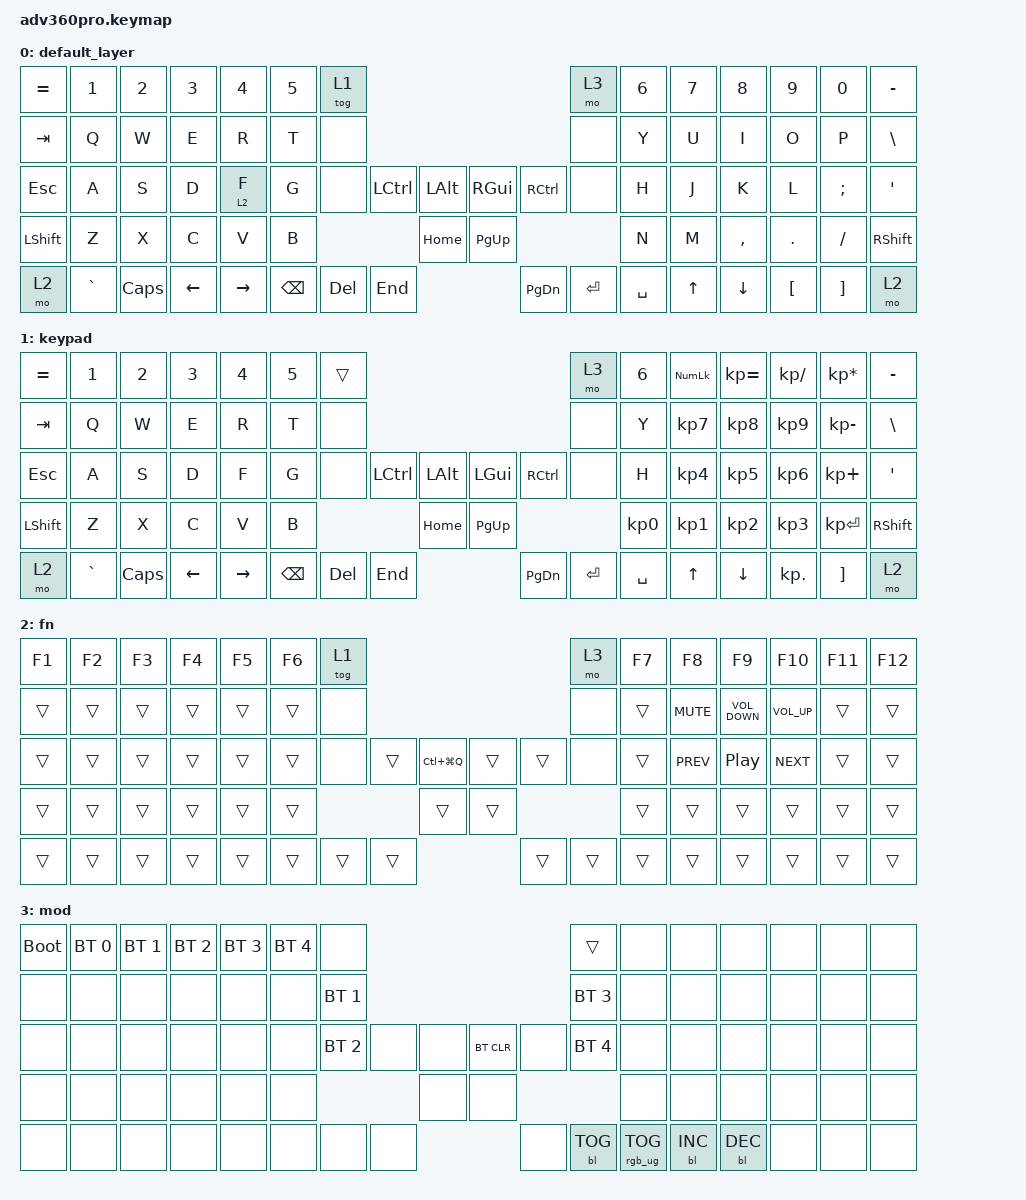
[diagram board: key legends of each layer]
#include <behaviors.dtsi>
#include <dt-bindings/zmk/backlight.h>
#include <dt-bindings/zmk/bt.h>
#include <dt-bindings/zmk/keys.h>
#include <dt-bindings/zmk/rgb.h>

/ {
    keymap {
        compatible = "zmk,keymap";

        default_layer {
            bindings = <
&kp EQUAL  &kp N1     &kp N2    &kp N3    &kp N4     &kp N5  &tog 1                                                                               &mo 3  &kp N6  &kp N7  &kp N8     &kp N9    &kp N0    &kp MINUS
&kp TAB    &kp Q      &kp W     &kp E     &kp R      &kp T   &none                                                                                &none  &kp Y   &kp U   &kp I      &kp O     &kp P     &kp BSLH
&kp ESC    &kp A      &kp S     &kp D     &lt 2 F    &kp G   &none             &kp LEFT_CONTROL  &kp LEFT_ALT    &kp RGUI   &kp RCTRL             &none  &kp H   &kp J   &kp K      &kp L     &kp SEMI  &kp SQT
&kp LSHFT  &kp Z      &kp X     &kp C     &kp V      &kp B                                       &kp HOME        &kp PG_UP                               &kp N   &kp M   &kp COMMA  &kp DOT   &kp FSLH  &kp RSHFT
&mo 2      &kp GRAVE  &kp CAPS  &kp LEFT  &kp RIGHT                  &kp BSPC  &kp DEL           &kp END         &kp PG_DN  &kp ENTER  &kp SPACE                 &kp UP  &kp DOWN   &kp LBKT  &kp RBKT  &mo 2
            >;
        };

        keypad {
            bindings = <
&kp EQUAL  &kp N1     &kp N2    &kp N3    &kp N4     &kp N5  &trans                                                                    &mo 3  &kp N6     &kp KP_NUM  &kp KP_EQUAL  &kp KP_DIVIDE  &kp KP_MULTIPLY  &kp MINUS
&kp TAB    &kp Q      &kp W     &kp E     &kp R      &kp T   &none                                                                     &none  &kp Y      &kp KP_N7   &kp KP_N8     &kp KP_N9      &kp KP_MINUS     &kp BSLH
&kp ESC    &kp A      &kp S     &kp D     &kp F      &kp G   &none             &kp LCTRL  &kp LALT    &kp LGUI   &kp RCTRL             &none  &kp H      &kp KP_N4   &kp KP_N5     &kp KP_N6      &kp KP_PLUS      &kp SQT
&kp LSHFT  &kp Z      &kp X     &kp C     &kp V      &kp B                                &kp HOME    &kp PG_UP                               &kp KP_N0  &kp KP_N1   &kp KP_N2     &kp KP_N3      &kp KP_ENTER     &kp RSHFT
&mo 2      &kp GRAVE  &kp CAPS  &kp LEFT  &kp RIGHT                  &kp BSPC  &kp DEL    &kp END     &kp PG_DN  &kp ENTER  &kp SPACE                    &kp UP      &kp DOWN      &kp KP_DOT     &kp RBKT         &mo 2
            >;
        };

        fn {
            bindings = <
&kp F1  &kp F2  &kp F3  &kp F4  &kp F5  &kp F6  &tog 1                                                           &mo 3  &kp F7  &kp F8      &kp F9             &kp F10          &kp F11  &kp F12
&trans  &trans  &trans  &trans  &trans  &trans  &none                                                            &none  &trans  &kp C_MUTE  &kp C_VOLUME_DOWN  &kp C_VOLUME_UP  &trans   &trans
&trans  &trans  &trans  &trans  &trans  &trans  &none           &trans  &kp LC(LG(Q))    &trans  &trans          &none  &trans  &kp C_PREV  &kp C_PLAY_PAUSE   &kp C_NEXT       &trans   &trans
&trans  &trans  &trans  &trans  &trans  &trans                          &trans           &trans                         &trans  &trans      &trans             &trans           &trans   &trans
&trans  &trans  &trans  &trans  &trans                  &trans  &trans  &trans           &trans  &trans  &trans                 &trans      &trans             &trans           &trans   &trans
            >;
        };

        mod {
            bindings = <
&bootloader  &bt BT_SEL 0  &bt BT_SEL 1  &bt BT_SEL 2  &bt BT_SEL 3  &bt BT_SEL 4  &none                                                                         &trans        &none  &none       &none       &none  &none  &none
&none        &none         &none         &none         &none         &none         &bt BT_SEL 1                                                                  &bt BT_SEL 3  &none  &none       &none       &none  &none  &none
&none        &none         &none         &none         &none         &none         &bt BT_SEL 2         &none  &none    &bt BT_CLR  &none                        &bt BT_SEL 4  &none  &none       &none       &none  &none  &none
&none        &none         &none         &none         &none         &none                                     &none    &none                                                  &none  &none       &none       &none  &none  &none
&none        &none         &none         &none         &none                                     &none  &none  &none    &none       &bl BL_TOG  &rgb_ug RGB_TOG                       &bl BL_INC  &bl BL_DEC  &none  &none  &none
            >;
        };
    };
};
